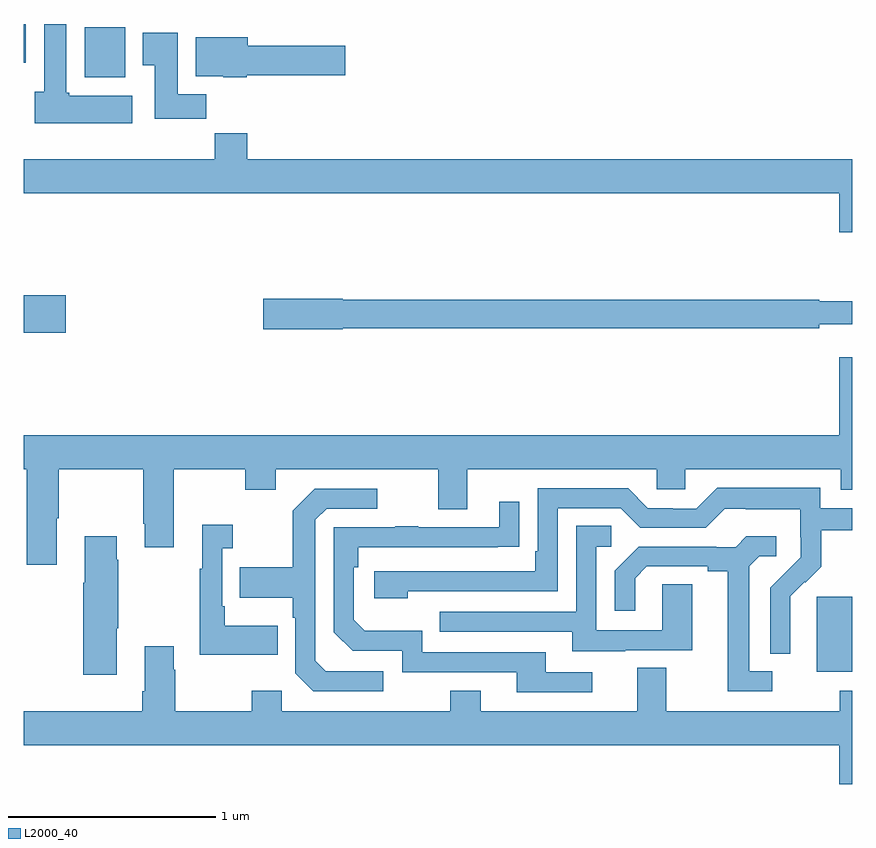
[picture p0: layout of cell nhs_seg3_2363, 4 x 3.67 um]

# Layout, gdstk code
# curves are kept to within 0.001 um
import gdstk
lib = gdstk.Library(unit=1e-6, precision=1e-09)
def R(c, l, rs):  # rectangles x0, y0, x1, y1
    for r in rs: c.add(gdstk.rectangle(r[:2], r[2:], *l))
def P(c, l, *ps):  # polygons
    for p in ps: c.add(gdstk.Polygon(p, *l))
L2000_40 = (2000, 40)

nhs_seg3_2363 = lib.new_cell('nhs_seg3_2363')
R(nhs_seg3_2363, L2000_40, [(236.828,697.274,237,697.635), (233,698.909,233.203,699.092), (233.294,700.142,233.491,700.384), (233,700.212,233.011,700.4)])
P(nhs_seg3_2363, L2000_40, [(233.524,700.054),(233.22,700.054),(233.22,700.068),(233.206,700.068),(233.206,700.4),(233.099,700.4),(233.099,700.074),(233.054,700.074),(233.054,699.92),(233.524,699.92)],
  [(233.882,700.06),(233.743,700.06),(233.743,700.357),(233.576,700.357),(233.576,700.201),(233.633,700.201),(233.633,699.942),(233.882,699.942)],
  [(234.078,700.153),(234.553,700.153),(234.553,700.295),(234.082,700.295),(234.082,700.336),(233.831,700.336),(233.831,700.148),(233.964,700.148),(233.964,700.142),(234.078,700.142)],
  [(237,699.748),(234.08,699.748),(234.08,699.872),(233.923,699.872),(233.923,699.748),(233,699.748),(233,699.584),(236.936,699.584),(236.936,699.396),(237,699.396)],
  [(234.54,698.932),(236.84,698.932),(236.84,698.951),(237,698.951),(237,699.061),(236.84,699.061),(236.84,699.068),(234.54,699.068),(234.54,699.074),(234.156,699.074),(234.156,698.927),(234.54,698.927)],
  [(233.161,698.014),(233.169,698.014),(233.169,698.252),(233.578,698.252),(233.578,697.987),(233.585,697.987),(233.585,697.875),(233.725,697.875),(233.725,698.252),(234.07,698.252),(234.07,698.153),(234.217,698.153),(234.217,698.252),(235.001,698.252),(235.001,698.058),(235.141,698.058),(235.141,698.252),(236.055,698.252),(236.055,698.154),(236.193,698.154),(236.193,698.252),(236.945,698.252),(236.945,698.153),(237,698.153),(237,698.791),(236.936,698.791),(236.936,698.416),(233,698.416),(233,698.252),(233.014,698.252),(233.014,697.791),(233.161,697.791)],
  [(236.7,697.514),(236.699,697.637),(236.769,697.707),(236.772,697.704),(236.849,697.781),(236.849,697.956),(237,697.956),(237,698.064),(236.844,698.064),(236.844,698.161),(236.347,698.161),(236.247,698.061),(236.132,698.061),(236.132,698.064),(236.013,698.064),(235.917,698.16),(235.482,698.16),(235.482,697.855),(235.469,697.855),(235.469,697.758),(234.693,697.758),(234.693,697.628),(234.854,697.628),(234.854,697.662),(235.578,697.662),(235.578,698.064),(235.881,698.064),(235.977,697.968),(236.292,697.968),(236.385,698.061),(236.485,698.061),(236.485,698.057),(236.748,698.057),(236.748,697.923),(236.75,697.923),(236.75,697.826),(236.604,697.678),(236.604,697.36),(236.7,697.36)],
  [(234.736,697.275),(234.459,697.275),(234.408,697.326),(234.408,698.007),(234.462,698.061),(234.706,698.061),(234.706,698.157),(234.405,698.157),(234.3,698.051),(234.3,697.779),(234.043,697.779),(234.043,697.631),(234.3,697.631),(234.3,697.535),(234.312,697.535),(234.312,697.266),(234.399,697.179),(234.736,697.179)],
  [(235.744,697.272),(235.519,697.272),(235.519,697.368),(234.924,697.368),(234.924,697.471),(234.647,697.471),(234.594,697.524),(234.594,697.778),(234.614,697.778),(234.614,697.875),(235.391,697.876),(235.391,698.095),(235.295,698.095),(235.295,697.971),(234.905,697.971),(234.905,697.976),(234.793,697.976),(234.793,697.971),(234.498,697.971),(234.498,697.464),(234.588,697.374),(234.828,697.374),(234.828,697.272),(235.379,697.272),(235.379,697.176),(235.744,697.176)],
  [(234.227,697.495),(233.971,697.495),(233.971,697.591),(233.958,697.591),(233.958,697.871),(234.01,697.871),(234.01,697.984),(233.861,697.984),(233.861,697.771),(233.85,697.771),(233.85,697.355),(234.227,697.355)],
  [(235.903,697.377),(236.227,697.377),(236.227,697.697),(236.082,697.697),(236.082,697.473),(235.764,697.473),(235.764,697.878),(235.837,697.878),(235.837,697.979),(235.668,697.979),(235.668,697.563),(235.009,697.563),(235.009,697.467),(235.649,697.467),(235.649,697.373),(235.903,697.373)],
  [(236.614,697.275),(236.503,697.275),(236.503,697.783),(236.55,697.83),(236.632,697.83),(236.632,697.927),(236.488,697.927),(236.436,697.875),(236.342,697.875),(236.342,697.878),(235.97,697.878),(235.854,697.762),(235.854,697.569),(235.951,697.569),(235.951,697.725),(236.008,697.782),(236.303,697.782),(236.303,697.76),(236.399,697.76),(236.399,697.179),(236.614,697.179)],
  [(233.449,697.483),(233.457,697.483),(233.457,697.814),(233.449,697.814),(233.449,697.927),(233.294,697.927),(233.294,697.703),(233.287,697.703),(233.287,697.26),(233.449,697.26)],
  [(237,697.183),(236.938,697.183),(236.938,697.084),(236.101,697.084),(236.101,697.292),(235.961,697.292),(235.961,697.084),(235.207,697.084),(235.207,697.183),(235.06,697.183),(235.06,697.084),(234.246,697.084),(234.246,697.183),(234.1,697.183),(234.1,697.084),(233.733,697.084),(233.733,697.283),(233.725,697.283),(233.725,697.396),(233.585,697.396),(233.585,697.18),(233.573,697.18),(233.573,697.084),(233,697.084),(233,696.92),(236.936,696.92),(236.936,696.732),(237,696.732)])

lib.write_gds('nhs_seg3_2363.gds')
